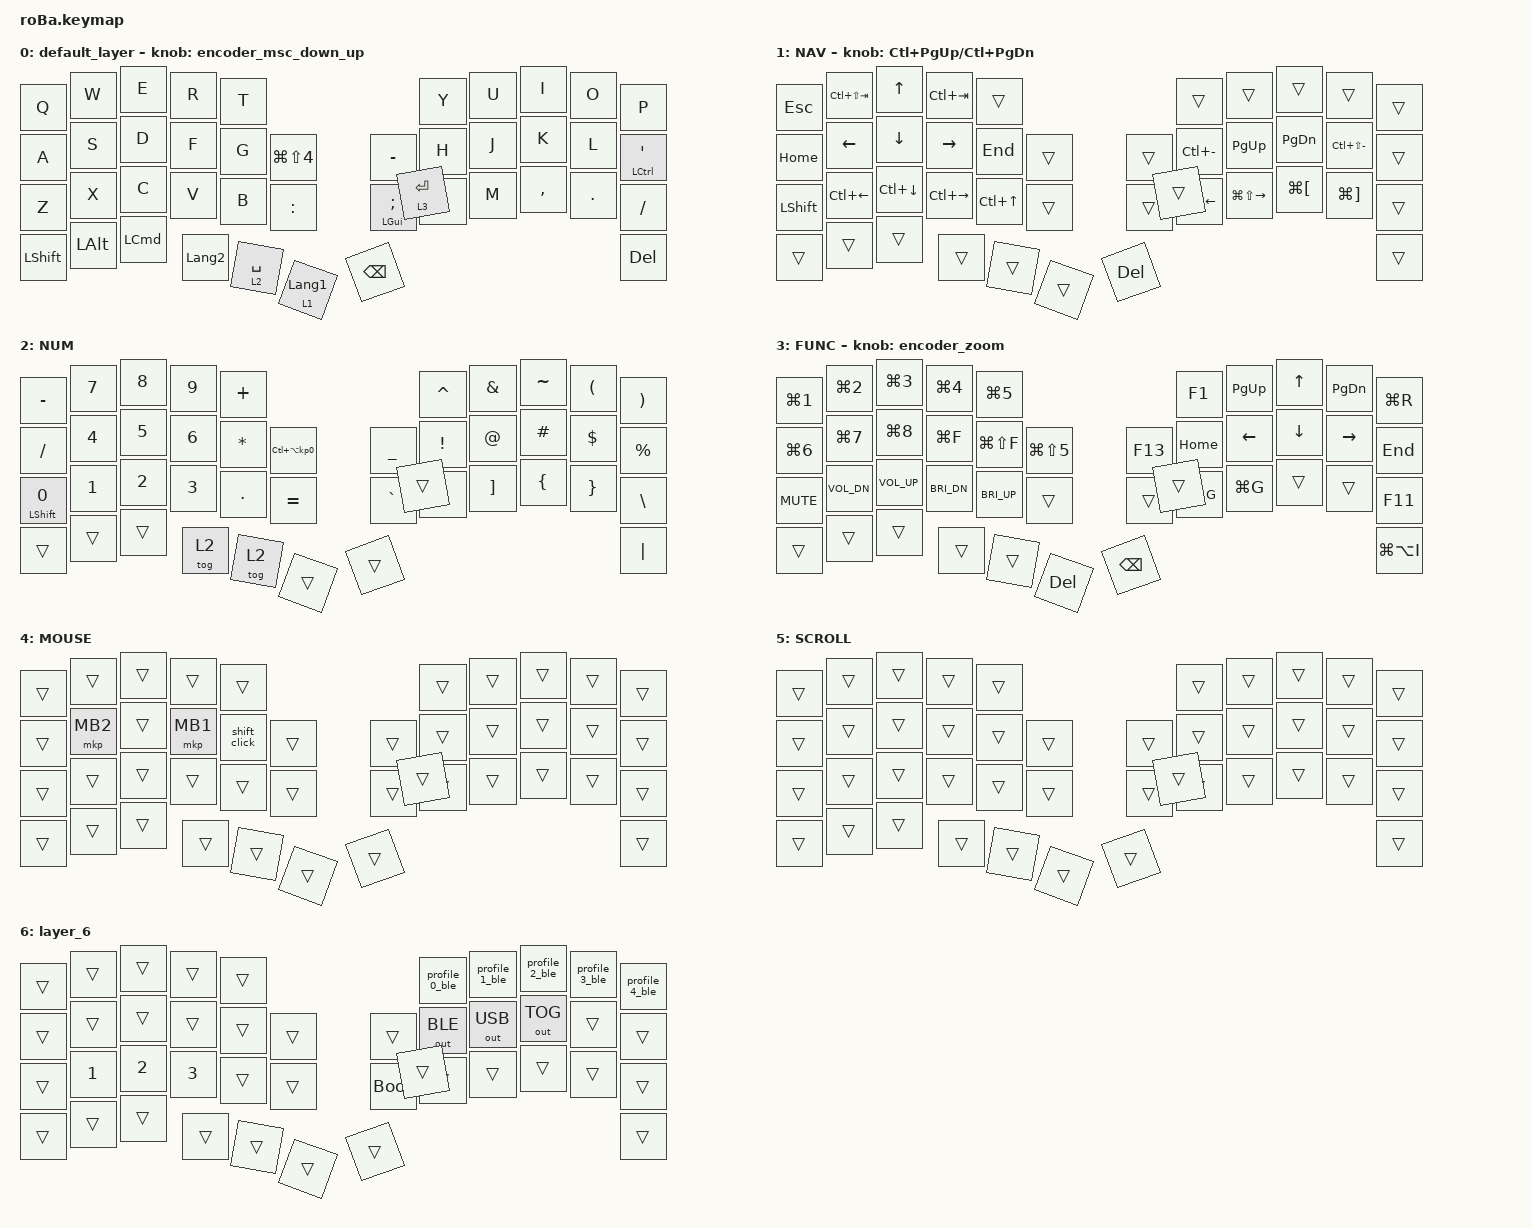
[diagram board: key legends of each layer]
#define ZMK_POINTING_DEFAULT_SCRL_VAL 120

#include <input/processors.dtsi>
#include <behaviors.dtsi>
#include <dt-bindings/zmk/bt.h>
#include <dt-bindings/zmk/keys.h>
#include <dt-bindings/zmk/outputs.h>
#include <dt-bindings/zmk/pointing.h>

&mt {
    flavor = "balanced";
    quick-tap-ms = <175>;
};

&lt {
    quick-tap-ms = <175>;
};

&trackball {
    scroll-layers = <5>;
};

&zip_temp_layer {
    require-prior-idle-ms = <200>;
    excluded-positions = <11 13 14>; // S / F / G
};

&trackball_listener {
    input-processors = <&zip_temp_layer 4 5000>;
};

&mkp_input_listener {
    input-processors = <&zip_temp_layer 4 250>;
};

/ {
    combos {
        compatible = "zmk,combos";

        escape {
            bindings = <&kp ESCAPE>;
            key-positions = <18 19>;
            timeout-ms = <30>;
            require-prior-idle-ms = <280>;
        };

        tab {
            bindings = <&kp TAB>;
            key-positions = <11 12>;
        };

        shift_tab {
            bindings = <&kp LS(TAB)>;
            key-positions = <12 13>;
        };

        eisu {
            bindings = <&to_layer_0 LANGUAGE_2>;
            key-positions = <11 10>;
            require-prior-idle-ms = <150>;
        };

        // Bluetooth 操作は、通常の英数切替と分離する。
        // Shift + Alt + Cmd の同時押し後、次の 1 キーだけ Layer 6 を有効にする。
        bt_admin {
            bindings = <&sl 6>;
            key-positions = <34 35 36>;
            layers = <0>;
            timeout-ms = <60>;
            require-prior-idle-ms = <280>;
        };

        double_quotation {
            bindings = <&kp DOUBLE_QUOTES>;
            key-positions = <20 21>;
        };

        eq {
            bindings = <&kp EQUAL>;
            key-positions = <24 25>;
        };

        pair_paren_combo {
            bindings = <&pair_paren>;
            key-positions = <8 9>;
            layers = <2>;
        };

        pair_bracket_combo {
            bindings = <&pair_bracket>;
            key-positions = <29 30>;
            layers = <2>;
        };

        pair_brace_combo {
            bindings = <&pair_brace>;
            key-positions = <31 32>;
            layers = <2>;
        };

        scroll_mode {
            bindings = <&tog 5>;
            key-positions = <25 26>;
            layers = <0 4 5>;
            timeout-ms = <30>;
        };

        nav_select_word_left {
            bindings = <&kp LA(LS(LEFT_ARROW))>;
            key-positions = <22 23>;
            layers = <1>;
            timeout-ms = <80>;
        };

        nav_select_word_right {
            bindings = <&kp LA(LS(RIGHT_ARROW))>;
            key-positions = <22 25>;
            layers = <1>;
            timeout-ms = <80>;
        };

        caps_word {
            bindings = <&caps_word>;
            key-positions = <13 18>;
            timeout-ms = <50>;
            require-prior-idle-ms = <280>;
        };

        voice_desktop {
            bindings = <&kp CAPSLOCK>;
            key-positions = <34 42>;
            require-prior-idle-ms = <280>;
        };

        appshot {
            bindings = <&appshot_cmd>;
            key-positions = <14 17>;
            require-prior-idle-ms = <280>;
        };

        code_jump {
            bindings = <&code_jump_click>;
            key-positions = <13 14>;
            layers = <0 4 5>;
            timeout-ms = <100>;
            require-prior-idle-ms = <80>;
        };

    };

    macros {
        to_layer_0: to_layer_0 {
            compatible = "zmk,behavior-macro-one-param";
            #binding-cells = <1>;
            bindings = <&to 0 &macro_param_1to1 &kp MACRO_PLACEHOLDER>;
            label = "TO_LAYER_0";
        };

        profile_0_ble: profile_0_ble {
            compatible = "zmk,behavior-macro";
            #binding-cells = <0>;
            bindings = <&bt BT_SEL 0>, <&out OUT_BLE>;
            label = "PROFILE_0_BLE";
        };

        profile_1_ble: profile_1_ble {
            compatible = "zmk,behavior-macro";
            #binding-cells = <0>;
            bindings = <&bt BT_SEL 1>, <&out OUT_BLE>;
            label = "PROFILE_1_BLE";
        };

        profile_2_ble: profile_2_ble {
            compatible = "zmk,behavior-macro";
            #binding-cells = <0>;
            bindings = <&bt BT_SEL 2>, <&out OUT_BLE>;
            label = "PROFILE_2_BLE";
        };

        profile_3_ble: profile_3_ble {
            compatible = "zmk,behavior-macro";
            #binding-cells = <0>;
            bindings = <&bt BT_SEL 3>, <&out OUT_BLE>;
            label = "PROFILE_3_BLE";
        };

        profile_4_ble: profile_4_ble {
            compatible = "zmk,behavior-macro";
            #binding-cells = <0>;
            bindings = <&bt BT_SEL 4>, <&out OUT_BLE>;
            label = "PROFILE_4_BLE";
        };

        pair_paren: pair_paren {
            compatible = "zmk,behavior-macro";
            #binding-cells = <0>;
            bindings = <&kp LEFT_PARENTHESIS &kp RIGHT_PARENTHESIS &kp LEFT_ARROW>;
            label = "PAIR_PAREN";
        };

        pair_bracket: pair_bracket {
            compatible = "zmk,behavior-macro";
            #binding-cells = <0>;
            bindings = <&kp LEFT_BRACKET &kp RIGHT_BRACKET &kp LEFT_ARROW>;
            label = "PAIR_BRACKET";
        };

        pair_brace: pair_brace {
            compatible = "zmk,behavior-macro";
            #binding-cells = <0>;
            bindings = <&kp LEFT_BRACE &kp RIGHT_BRACE &kp LEFT_ARROW>;
            label = "PAIR_BRACE";
        };

        appshot_cmd: appshot_cmd {
            compatible = "zmk,behavior-macro";
            #binding-cells = <0>;
            label = "APPSHOT_CMD";
            tap-ms = <0>;
            wait-ms = <0>;
            bindings = <&macro_press &kp LEFT_GUI>
                , <&macro_press &kp RIGHT_GUI>
                , <&macro_wait_time 80>
                , <&macro_release &kp RIGHT_GUI>
                , <&macro_release &kp LEFT_GUI>;
        };

        code_jump_click: code_jump_click {
            compatible = "zmk,behavior-macro";
            #binding-cells = <0>;
            label = "CODE_JUMP_CLICK";
            tap-ms = <40>;
            wait-ms = <30>;
            bindings = <&macro_press &kp LEFT_GUI>
                , <&macro_wait_time 40>
                , <&macro_press &mkp MB1>
                , <&macro_wait_time 50>
                , <&macro_release &mkp MB1>
                , <&macro_wait_time 40>
                , <&macro_release &kp LEFT_GUI>;
        };

        shift_click: shift_click {
            compatible = "zmk,behavior-macro";
            #binding-cells = <0>;
            label = "SHIFT_CLICK";
            tap-ms = <40>;
            wait-ms = <30>;
            bindings = <&macro_press &kp LEFT_SHIFT>
                , <&macro_wait_time 40>
                , <&macro_press &mkp MB1>
                , <&macro_wait_time 50>
                , <&macro_release &mkp MB1>
                , <&macro_wait_time 40>
                , <&macro_release &kp LEFT_SHIFT>;
        };

    };

    behaviors {
        // 左手Ctrl: 右手キーを押したときだけCtrl発動
        // 唯一のCtrl: ' 長押しで全キー対応
        hm_r: home_mod_right {
            compatible = "zmk,behavior-hold-tap";
            label = "HOME_MOD_RIGHT";
            bindings = <&kp>, <&kp>;
            #binding-cells = <2>;
            flavor = "balanced";
            tapping-term-ms = <200>;
            quick-tap-ms = <175>;
            require-prior-idle-ms = <280>;
        };

        cmd_semi: cmd_semicolon {
            compatible = "zmk,behavior-hold-tap";
            label = "CMD_SEMICOLON";
            bindings = <&kp>, <&kp>;
            #binding-cells = <2>;
            flavor = "balanced";
            tapping-term-ms = <200>;
            quick-tap-ms = <175>;
            require-prior-idle-ms = <280>;
        };

        lt_to_layer_0: lt_to_layer_0 {
            compatible = "zmk,behavior-hold-tap";
            label = "LAYER_TAP_TO_0";
            bindings = <&mo>, <&to_layer_0>;

            #binding-cells = <2>;
            tapping-term-ms = <200>;
            quick-tap-ms = <175>;
        };

        encoder_msc_down_up: encoder_msc_down_up {
            compatible = "zmk,behavior-sensor-rotate";
            label = "ENCODER_MSC_DOWN_UP";
            #sensor-binding-cells = <0>;
            bindings = <&msc SCRL_DOWN>, <&msc SCRL_UP>;

            tap-ms = <20>;
        };

        encoder_zoom: encoder_zoom {
            compatible = "zmk,behavior-sensor-rotate";
            label = "ENCODER_ZOOM";
            #sensor-binding-cells = <0>;
            bindings = <&kp LG(EQUAL)>, <&kp LG(MINUS)>;

            tap-ms = <20>;
        };
    };

    keymap {
        compatible = "zmk,keymap";

        default_layer {
            bindings = <
&kp Q               &kp W         &kp E             &kp R            &kp T                                                             &kp Y        &kp U  &kp I      &kp O    &kp P
&kp A               &kp S         &kp D             &kp F            &kp G        &kp LG(LS(N4))                         &kp MINUS      &kp H        &kp J  &kp K      &kp L    &hm_r LEFT_CONTROL SQT
&kp Z               &kp X         &kp C             &kp V            &kp B        &kp COLON                              &cmd_semi LEFT_GUI SEMICOLON  &kp N        &kp M  &kp COMMA  &kp DOT  &kp SLASH
&kp LEFT_SHIFT      &kp LEFT_ALT  &kp LEFT_COMMAND  &kp LANGUAGE_2               &lt 2 SPACE  &lt_to_layer_0 1 LANGUAGE_1      &kp BACKSPACE  &lt 3 ENTER                             &kp DEL
            >;

            sensor-bindings = <&encoder_msc_down_up>;
        };

        NAV {
            bindings = <
&kp ESCAPE      &kp LC(LS(TAB))         &kp UP_ARROW    &kp LC(TAB)              &trans                             &trans  &trans  &trans  &trans  &trans
&kp HOME        &kp LEFT_ARROW          &kp DOWN_ARROW  &kp RIGHT_ARROW          &kp END          &trans      &trans  &kp LC(MINUS)  &kp PAGE_UP    &kp PAGE_DOWN  &kp LC(LS(MINUS))  &trans
&kp LEFT_SHIFT  &kp LC(LEFT_ARROW)      &kp LC(DOWN_ARROW)  &kp LC(RIGHT_ARROW)      &kp LC(UP_ARROW)     &trans      &trans  &kp LG(LS(LEFT_ARROW))  &kp LG(LS(RIGHT_ARROW))  &kp LG(LEFT_BRACKET)  &kp LG(RIGHT_BRACKET)  &trans
&trans          &trans                  &trans          &trans                   &trans           &trans      &kp DEL &trans                          &trans
            >;

            sensor-bindings = <&inc_dec_kp LC(PAGE_UP) LC(PAGE_DOWN)>;
        };

        NUM {
            bindings = <
&kp MINUS                   &kp NUMBER_7     &kp NUMBER_8     &kp NUMBER_9     &kp PLUS                                                   &kp CARET         &kp AMPERSAND      &kp TILDE       &kp LEFT_PARENTHESIS  &kp RIGHT_PARENTHESIS
&kp SLASH                   &kp NUMBER_4     &kp NUMBER_5     &kp NUMBER_6     &kp ASTERISK  &kp LC(LA(KP_NUMBER_0))      &kp UNDERSCORE  &kp EXCLAMATION   &kp AT_SIGN        &kp HASH        &kp DOLLAR            &kp PERCENT
&mt LEFT_SHIFT NUMBER_0     &kp NUMBER_1     &kp NUMBER_2     &kp NUMBER_3     &kp PERIOD    &kp EQUAL                    &kp GRAVE       &kp LEFT_BRACKET  &kp RIGHT_BRACKET  &kp LEFT_BRACE  &kp RIGHT_BRACE       &kp BACKSLASH
&trans                      &trans           &trans           &tog 2           &tog 2        &trans                       &trans          &trans                                                                     &kp PIPE
            >;
        };

        FUNC {
            bindings = <
&kp LG(N1)  &kp LG(N2)  &kp LG(N3)  &kp LG(N4)  &kp LG(N5)                         &kp F1    &kp PAGE_UP    &kp UP_ARROW    &kp PAGE_DOWN  &kp LG(R)
&kp LG(N6)  &kp LG(N7)  &kp LG(N8)  &kp LG(F)  &kp LG(LS(F))  &kp LG(LS(N5))  &kp F13        &kp HOME  &kp LEFT_ARROW &kp DOWN_ARROW  &kp RIGHT_ARROW &kp END
&kp C_MUTE  &kp C_VOL_DN  &kp C_VOL_UP  &kp C_BRI_DN  &kp C_BRI_UP  &trans  &trans         &kp LG(LS(G))  &kp LG(G)  &trans          &trans          &kp F11
&trans      &trans      &trans      &trans      &trans      &kp DELETE      &kp BACKSPACE  &trans                                           &kp LG(LA(I))
            >;

            sensor-bindings = <&encoder_zoom>;
        };

        MOUSE {
            bindings = <
&trans  &trans    &trans    &trans    &trans                      &trans  &trans    &trans    &trans    &trans
&trans  &mkp MB2  &trans    &mkp MB1  &shift_click  &trans      &trans  &trans  &trans    &trans    &trans    &trans
&trans  &trans    &trans    &trans    &trans  &trans      &trans  &trans  &trans    &trans    &trans    &trans
&trans  &trans    &trans    &trans    &trans  &trans      &trans  &trans                                &trans
            >;
        };

        SCROLL {
            bindings = <
&trans  &trans  &trans  &trans  &trans                      &trans  &trans  &trans  &trans  &trans
&trans  &trans  &trans  &trans  &trans  &trans      &trans  &trans  &trans  &trans  &trans  &trans
&trans  &trans  &trans  &trans  &trans  &trans      &trans  &trans  &trans  &trans  &trans  &trans
&trans  &trans  &trans  &trans  &trans  &trans      &trans  &trans                          &trans
            >;
        };

        layer_6 {
            bindings = <
&trans  &trans        &trans        &trans        &trans                           &profile_0_ble  &profile_1_ble  &profile_2_ble  &profile_3_ble  &profile_4_ble
&trans  &trans        &trans        &trans        &trans  &trans      &trans       &out OUT_BLE   &out OUT_USB   &out OUT_TOG   &trans        &trans
&trans  &kp NUMBER_1  &kp NUMBER_2  &kp NUMBER_3  &trans  &trans      &bootloader  &trans        &trans        &trans        &trans        &trans
&trans  &trans        &trans        &trans        &trans  &trans      &trans       &trans                                                  &trans
            >;
        };

    };
};
